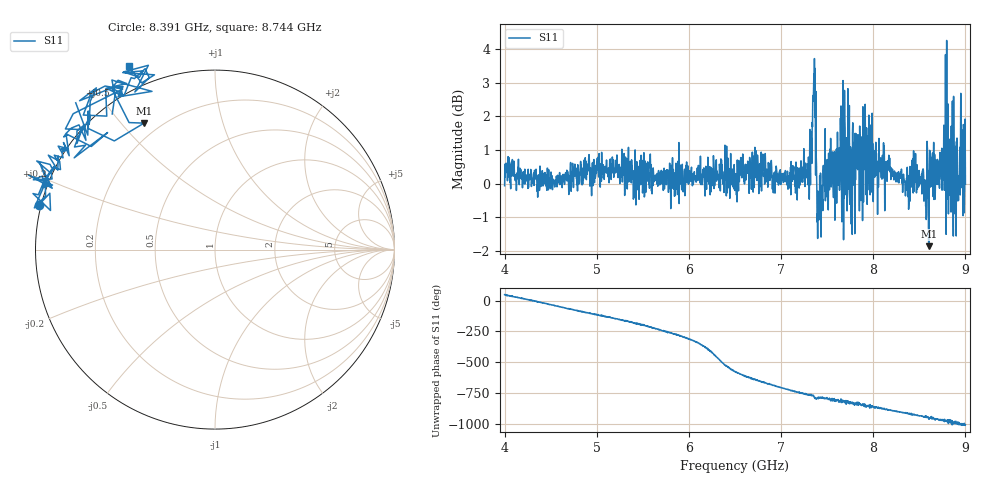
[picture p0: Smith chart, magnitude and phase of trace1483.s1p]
! Created with skrf 1.8.0 (http://scikit-rf.org).
# Hz S RI R 50.0
!freq ReS11 ImS11
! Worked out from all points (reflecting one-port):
!   1601 points, 4 GHz to 9 GHz, reference 50 ohm
!   lowest |S11| = -1.9 dB at 8.603 GHz (marker M1), VSWR 9.42, Z = 7.1 + j28.8 ohm
!   phase of S11 starts at 48 deg and turns -1052 deg over the sweep
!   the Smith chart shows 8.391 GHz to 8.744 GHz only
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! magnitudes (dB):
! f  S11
! 4 GHz  -0.1
! 4.625 GHz  -0.1
! 5.25 GHz  0.0
! 5.875 GHz  0.4
! 6.5 GHz  -0.2
! 6.725 GHz  0.4
! 7.125 GHz  0.2
! 7.294 GHz  0.0
! 7.353 GHz  2.8
! 7.366 GHz  2.0
! 7.397 GHz  -1.6
! 7.412 GHz  -0.5
! 7.481 GHz  -0.5
! 7.584 GHz  -1.1
! 7.669 GHz  1.2
! 7.75 GHz  -0.5
! 7.828 GHz  0.7
! 7.928 GHz  1.7
! 8.375 GHz  -0.1
! 8.522 GHz  0.1
! 8.581 GHz  0.3
! 8.603 GHz  -1.9
! 8.634 GHz  0.8
! 8.694 GHz  0.4
! 8.788 GHz  -1.3
! 8.906 GHz  0.9
! 8.972 GHz  0.9
! 9 GHz  0.0
